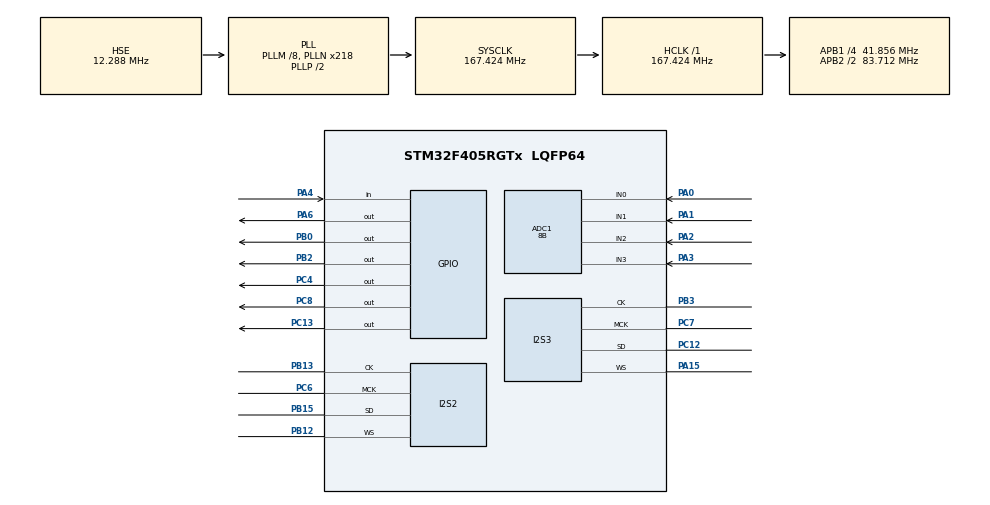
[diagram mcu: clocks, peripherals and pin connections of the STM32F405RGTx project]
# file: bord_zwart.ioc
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ADC1.Channel-0\#ChannelRegularConversion=ADC_CHANNEL_0
ADC1.Channel-1\#ChannelRegularConversion=ADC_CHANNEL_1
ADC1.Channel-2\#ChannelRegularConversion=ADC_CHANNEL_2
ADC1.Channel-3\#ChannelRegularConversion=ADC_CHANNEL_3
ADC1.ContinuousConvMode=ENABLE
ADC1.DMAContinuousRequests=ENABLE
ADC1.NbrOfConversion=4
ADC1.NbrOfConversionFlag=1
ADC1.Rank-0\#ChannelRegularConversion=1
ADC1.Rank-1\#ChannelRegularConversion=2
ADC1.Rank-2\#ChannelRegularConversion=3
ADC1.Rank-3\#ChannelRegularConversion=4
ADC1.Resolution=ADC_RESOLUTION_8B
ADC1.SamplingTime-0\#ChannelRegularConversion=ADC_SAMPLETIME_56CYCLES
ADC1.SamplingTime-1\#ChannelRegularConversion=ADC_SAMPLETIME_56CYCLES
ADC1.SamplingTime-2\#ChannelRegularConversion=ADC_SAMPLETIME_56CYCLES
ADC1.SamplingTime-3\#ChannelRegularConversion=ADC_SAMPLETIME_56CYCLES
ADC1.ScanConvMode=ENABLE
ADC1.master=1
Dma.ADC1.2.Direction=DMA_PERIPH_TO_MEMORY
Dma.ADC1.2.FIFOMode=DMA_FIFOMODE_DISABLE
Dma.ADC1.2.Instance=DMA2_Stream0
Dma.ADC1.2.MemDataAlignment=DMA_MDATAALIGN_WORD
Dma.ADC1.2.MemInc=DMA_MINC_ENABLE
Dma.ADC1.2.Mode=DMA_CIRCULAR
Dma.ADC1.2.PeriphDataAlignment=DMA_PDATAALIGN_WORD
Dma.ADC1.2.PeriphInc=DMA_PINC_DISABLE
Dma.ADC1.2.Priority=DMA_PRIORITY_LOW
Dma.Request0=SPI2_RX
Dma.Request1=SPI3_TX
Dma.Request2=ADC1
Dma.SPI2_RX.0.Direction=DMA_PERIPH_TO_MEMORY
Dma.SPI2_RX.0.FIFOMode=DMA_FIFOMODE_DISABLE
Dma.SPI2_RX.0.Instance=DMA1_Stream3
Dma.SPI2_RX.0.MemDataAlignment=DMA_MDATAALIGN_HALFWORD
Dma.SPI2_RX.0.MemInc=DMA_MINC_ENABLE
Dma.SPI2_RX.0.Mode=DMA_CIRCULAR
Dma.SPI2_RX.0.PeriphDataAlignment=DMA_PDATAALIGN_HALFWORD
Dma.SPI2_RX.0.PeriphInc=DMA_PINC_DISABLE
Dma.SPI2_RX.0.Priority=DMA_PRIORITY_VERY_HIGH
Dma.SPI3_TX.1.Direction=DMA_MEMORY_TO_PERIPH
Dma.SPI3_TX.1.FIFOMode=DMA_FIFOMODE_DISABLE
Dma.SPI3_TX.1.Instance=DMA1_Stream5
Dma.SPI3_TX.1.MemDataAlignment=DMA_MDATAALIGN_HALFWORD
Dma.SPI3_TX.1.MemInc=DMA_MINC_ENABLE
Dma.SPI3_TX.1.Mode=DMA_CIRCULAR
Dma.SPI3_TX.1.PeriphDataAlignment=DMA_PDATAALIGN_HALFWORD
Dma.SPI3_TX.1.PeriphInc=DMA_PINC_DISABLE
Dma.SPI3_TX.1.Priority=DMA_PRIORITY_VERY_HIGH
I2S2.AudioFreq=I2S_AUDIOFREQ_48K
I2S2.ErrorAudioFreq=0.0 %
I2S2.FullDuplexMode=I2S_FULLDUPLEXMODE_DISABLE
I2S2.Instance=SPI$Index
I2S2.Mode=I2S_MODE_MASTER_RX
I2S2.RealAudioFreq=48.0 KHz
I2S2.VirtualMode=I2S_MODE_MASTER
I2S3.AudioFreq=I2S_AUDIOFREQ_48K
I2S3.ErrorAudioFreq=0.0 %
I2S3.FullDuplexMode=I2S_FULLDUPLEXMODE_DISABLE
I2S3.Instance=SPI$Index
I2S3.RealAudioFreq=48.0 KHz
I2S3.VirtualMode=I2S_MODE_MASTER
Mcu.Family=STM32F4
Mcu.Name=STM32F405RGTx
Mcu.Package=LQFP64
NVIC.ADC_IRQn=true\:0\:0\:false\:false\:true\:true\:true
NVIC.DMA1_Stream3_IRQn=true\:0\:0\:false\:false\:true\:false\:true
NVIC.DMA1_Stream5_IRQn=true\:0\:0\:false\:false\:true\:false\:true
NVIC.DMA2_Stream0_IRQn=true\:0\:0\:false\:false\:true\:false\:true
NVIC.PriorityGroup=NVIC_PRIORITYGROUP_4
PA0-WKUP.Signal=ADCx_IN0
PA1.Signal=ADCx_IN1
PA13.Mode=Serial_Wire
PA13.Signal=SYS_JTMS-SWDIO
PA14.Mode=Serial_Wire
PA14.Signal=SYS_JTCK-SWCLK
PA15.Mode=Half_Duplex_Master
PA15.Signal=I2S3_WS
PA2.Signal=ADCx_IN2
PA3.Signal=ADCx_IN3
PA4.Signal=GPIO_Input
PA6.Signal=GPIO_Output
PB0.Signal=GPIO_Output
PB12.Mode=Half_Duplex_Master
PB12.Signal=I2S2_WS
PB13.Mode=Half_Duplex_Master
PB13.Signal=I2S2_CK
PB15.Mode=Half_Duplex_Master
PB15.Signal=I2S2_SD
PB2.Signal=GPIO_Output
PB3.Mode=Half_Duplex_Master
PB3.Signal=I2S3_CK
PC12.Mode=Half_Duplex_Master
PC12.Signal=I2S3_SD
PC13-ANTI_TAMP.Signal=GPIO_Output
PC4.Signal=GPIO_Output
PC6.Mode=Master_Clock_Activated
PC6.Signal=I2S2_MCK
PC7.Mode=Master_Clock_Activated
PC7.Signal=I2S3_MCK
PC8.Signal=GPIO_Output
PH0-OSC_IN.Mode=HSE-External-Oscillator
PH0-OSC_IN.Signal=RCC_OSC_IN
PH1-OSC_OUT.Mode=HSE-External-Oscillator
PH1-OSC_OUT.Signal=RCC_OSC_OUT
ProjectManager.HeapSize=0x200
ProjectManager.StackSize=0x400
ProjectManager.TargetToolchain=STM32CubeIDE
RCC.48MHZClocksFreq_Value=83712000
RCC.AHBFreq_Value=167424000
RCC.APB1CLKDivider=RCC_HCLK_DIV4
RCC.APB1Freq_Value=41856000
RCC.APB1TimFreq_Value=83712000
RCC.APB2CLKDivider=RCC_HCLK_DIV2
RCC.APB2Freq_Value=83712000
RCC.APB2TimFreq_Value=167424000
RCC.CortexFreq_Value=167424000
RCC.HCLKFreq_Value=167424000
RCC.HSE_VALUE=12288000
RCC.HSI_VALUE=16000000
RCC.LSE_VALUE=32768
RCC.PLLI2SN=128
RCC.PLLM=8
RCC.PLLN=218
RCC.PLLSourceVirtual=RCC_PLLSOURCE_HSE
RCC.SYSCLKFreq_VALUE=167424000
RCC.SYSCLKSource=RCC_SYSCLKSOURCE_PLLCLK
RCC.VCOOutputFreq_Value=334848000
SH.ADCx_IN0.0=ADC1_IN0,IN0
SH.ADCx_IN1.0=ADC1_IN1,IN1
SH.ADCx_IN2.0=ADC1_IN2,IN2
SH.ADCx_IN3.0=ADC1_IN3,IN3
board=custom

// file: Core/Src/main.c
/* USER CODE BEGIN Header */
/**
  ******************************************************************************
  * @file           : main.c
  * @brief          : Main program body
  ******************************************************************************
  * @attention
  *
  * <h2><center>&copy; Copyright (c) 2021 STMicroelectronics.
  * All rights reserved.</center></h2>
  *
  * This software component is licensed by ST under BSD 3-Clause license,
  * the "License"; You may not use this file except in compliance with the
  * License. You may obtain a copy of the License at:
  *                        opensource.org/licenses/BSD-3-Clause
  *
  ******************************************************************************
  */
/* USER CODE END Header */
#include "main.h"

/* USER CODE BEGIN Includes */
#include "arm_math.h"
/* USER CODE END Includes */

/* USER CODE BEGIN PD */
#define n 8
#define delay_buffer_length 48*1200

/* USER CODE END PD */

ADC_HandleTypeDef hadc1;
DMA_HandleTypeDef hdma_adc1;

I2S_HandleTypeDef hi2s2;
I2S_HandleTypeDef hi2s3;
DMA_HandleTypeDef hdma_spi2_rx;
DMA_HandleTypeDef hdma_spi3_tx;

/* USER CODE BEGIN PV */
float deel_delay = 2;
int i_delay = 0;
int i2 = 0;
uint16_t audio_in[4*n];
uint16_t audio_out[4*n];
uint32_t adc_data[4];
uint8_t pot1 = 0;
uint8_t pot2 = 0;
uint8_t pot3 = 0;
uint8_t pot4 = 0;
q15_t audio_r_in[n];
q15_t audio_l_in[n];
q15_t audio_r_out[n];
q15_t audio_l_out[n];
q15_t M_out[n];
q15_t M_delay[n];
q15_t delay_audio[delay_buffer_length];
q15_t delay_add[n];
q15_t delay_add2[n];
/* USER CODE END PV */

void SystemClock_Config(void);
static void MX_GPIO_Init(void);
static void MX_DMA_Init(void);
static void MX_ADC1_Init(void);
static void MX_I2S2_Init(void);
static void MX_I2S3_Init(void);

int main(void)
{

  /* MCU Configuration--------------------------------------------------------*/

  /* Reset of all peripherals, Initializes the Flash interface and the Systick. */
  HAL_Init();

  /* Configure the system clock */
  SystemClock_Config();

  /* Initialize all configured peripherals */
  MX_GPIO_Init();
  MX_DMA_Init();
  MX_ADC1_Init();
  MX_I2S2_Init();
  MX_I2S3_Init();
  /* USER CODE BEGIN 2 */

  HAL_GPIO_WritePin(GPIOC, GPIO_PIN_8, GPIO_PIN_SET);
  HAL_GPIO_TogglePin(GPIOA, GPIO_PIN_6);
  HAL_ADC_Start(&hadc1);
  HAL_ADC_Start_DMA(&hadc1, adc_data, 4);

  HAL_I2S_Receive_DMA(&hi2s2, audio_in, 4*n);
  HAL_I2S_Transmit_DMA(&hi2s3, audio_out, 4*n);

  /* USER CODE END 2 */

  /* Infinite loop */
  while (1)
  {

    /* USER CODE BEGIN 3 */
	    HAL_GPIO_TogglePin(GPIOB, GPIO_PIN_0);
		HAL_GPIO_TogglePin(GPIOA, GPIO_PIN_6);
		HAL_Delay((1.05 + (pot1/64))*100);
		HAL_GPIO_TogglePin(GPIOA, GPIO_PIN_6);
		HAL_GPIO_TogglePin(GPIOB, GPIO_PIN_0);
		HAL_Delay((1.05 + (pot1/64))*100);
  }
  /* USER CODE END 3 */
}

void SystemClock_Config(void)
{
  RCC_OscInitTypeDef RCC_OscInitStruct = {0};
  RCC_ClkInitTypeDef RCC_ClkInitStruct = {0};
  RCC_PeriphCLKInitTypeDef PeriphClkInitStruct = {0};

  /** Configure the main internal regulator output voltage
  */
  __HAL_RCC_PWR_CLK_ENABLE();
  __HAL_PWR_VOLTAGESCALING_CONFIG(PWR_REGULATOR_VOLTAGE_SCALE1);
  /** Initializes the RCC Oscillators according to the specified parameters
  * in the RCC_OscInitTypeDef structure.
  */
  RCC_OscInitStruct.OscillatorType = RCC_OSCILLATORTYPE_HSE;
  RCC_OscInitStruct.HSEState = RCC_HSE_ON;
  RCC_OscInitStruct.PLL.PLLState = RCC_PLL_ON;
  RCC_OscInitStruct.PLL.PLLSource = RCC_PLLSOURCE_HSE;
  RCC_OscInitStruct.PLL.PLLM = 8;
  RCC_OscInitStruct.PLL.PLLN = 218;
  RCC_OscInitStruct.PLL.PLLP = RCC_PLLP_DIV2;
  RCC_OscInitStruct.PLL.PLLQ = 4;
  if (HAL_RCC_OscConfig(&RCC_OscInitStruct) != HAL_OK)
  {
    Error_Handler();
  }
  /** Initializes the CPU, AHB and APB buses clocks
  */
  RCC_ClkInitStruct.ClockType = RCC_CLOCKTYPE_HCLK|RCC_CLOCKTYPE_SYSCLK
                              |RCC_CLOCKTYPE_PCLK1|RCC_CLOCKTYPE_PCLK2;
  RCC_ClkInitStruct.SYSCLKSource = RCC_SYSCLKSOURCE_PLLCLK;
  RCC_ClkInitStruct.AHBCLKDivider = RCC_SYSCLK_DIV1;
  RCC_ClkInitStruct.APB1CLKDivider = RCC_HCLK_DIV4;
  RCC_ClkInitStruct.APB2CLKDivider = RCC_HCLK_DIV2;

  if (HAL_RCC_ClockConfig(&RCC_ClkInitStruct, FLASH_LATENCY_5) != HAL_OK)
  {
    Error_Handler();
  }
  PeriphClkInitStruct.PeriphClockSelection = RCC_PERIPHCLK_I2S;
  PeriphClkInitStruct.PLLI2S.PLLI2SN = 128;
  PeriphClkInitStruct.PLLI2S.PLLI2SR = 2;
  if (HAL_RCCEx_PeriphCLKConfig(&PeriphClkInitStruct) != HAL_OK)
  {
    Error_Handler();
  }
}

static void MX_ADC1_Init(void)
{

  ADC_ChannelConfTypeDef sConfig = {0};

  /** Configure the global features of the ADC (Clock, Resolution, Data Alignment and number of conversion)
  */
  hadc1.Instance = ADC1;
  hadc1.Init.ClockPrescaler = ADC_CLOCK_SYNC_PCLK_DIV4;
  hadc1.Init.Resolution = ADC_RESOLUTION_8B;
  hadc1.Init.ScanConvMode = ENABLE;
  hadc1.Init.ContinuousConvMode = ENABLE;
  hadc1.Init.DiscontinuousConvMode = DISABLE;
  hadc1.Init.ExternalTrigConvEdge = ADC_EXTERNALTRIGCONVEDGE_NONE;
  hadc1.Init.ExternalTrigConv = ADC_SOFTWARE_START;
  hadc1.Init.DataAlign = ADC_DATAALIGN_RIGHT;
  hadc1.Init.NbrOfConversion = 4;
  hadc1.Init.DMAContinuousRequests = ENABLE;
  hadc1.Init.EOCSelection = ADC_EOC_SINGLE_CONV;
  if (HAL_ADC_Init(&hadc1) != HAL_OK)
  {
    Error_Handler();
  }
  /** Configure for the selected ADC regular channel its corresponding rank in the sequencer and its sample time.
  */
  sConfig.Channel = ADC_CHANNEL_0;
  sConfig.Rank = 1;
  sConfig.SamplingTime = ADC_SAMPLETIME_28CYCLES;
  if (HAL_ADC_ConfigChannel(&hadc1, &sConfig) != HAL_OK)
  {
    Error_Handler();
  }
  /** Configure for the selected ADC regular channel its corresponding rank in the sequencer and its sample time.
  */
  sConfig.Channel = ADC_CHANNEL_1;
  sConfig.Rank = 2;
  if (HAL_ADC_ConfigChannel(&hadc1, &sConfig) != HAL_OK)
  {
    Error_Handler();
  }
  /** Configure for the selected ADC regular channel its corresponding rank in the sequencer and its sample time.
  */
  sConfig.Channel = ADC_CHANNEL_2;
  sConfig.Rank = 3;
  if (HAL_ADC_ConfigChannel(&hadc1, &sConfig) != HAL_OK)
  {
    Error_Handler();
  }
  /** Configure for the selected ADC regular channel its corresponding rank in the sequencer and its sample time.
  */
  sConfig.Channel = ADC_CHANNEL_3;
  sConfig.Rank = 4;
  if (HAL_ADC_ConfigChannel(&hadc1, &sConfig) != HAL_OK)
  {
    Error_Handler();
  }

}

static void MX_I2S2_Init(void)
{

  hi2s2.Instance = SPI2;
  hi2s2.Init.Mode = I2S_MODE_MASTER_RX;
  hi2s2.Init.Standard = I2S_STANDARD_PHILIPS;
  hi2s2.Init.DataFormat = I2S_DATAFORMAT_16B;
  hi2s2.Init.MCLKOutput = I2S_MCLKOUTPUT_ENABLE;
  hi2s2.Init.AudioFreq = I2S_AUDIOFREQ_48K;
  hi2s2.Init.CPOL = I2S_CPOL_LOW;
  hi2s2.Init.ClockSource = I2S_CLOCK_PLL;
  hi2s2.Init.FullDuplexMode = I2S_FULLDUPLEXMODE_DISABLE;
  if (HAL_I2S_Init(&hi2s2) != HAL_OK)
  {
    Error_Handler();
  }

}

static void MX_I2S3_Init(void)
{

  hi2s3.Instance = SPI3;
  hi2s3.Init.Mode = I2S_MODE_MASTER_TX;
  hi2s3.Init.Standard = I2S_STANDARD_PHILIPS;
  hi2s3.Init.DataFormat = I2S_DATAFORMAT_16B;
  hi2s3.Init.MCLKOutput = I2S_MCLKOUTPUT_ENABLE;
  hi2s3.Init.AudioFreq = I2S_AUDIOFREQ_48K;
  hi2s3.Init.CPOL = I2S_CPOL_LOW;
  hi2s3.Init.ClockSource = I2S_CLOCK_PLL;
  hi2s3.Init.FullDuplexMode = I2S_FULLDUPLEXMODE_DISABLE;
  if (HAL_I2S_Init(&hi2s3) != HAL_OK)
  {
    Error_Handler();
  }

}

static void MX_DMA_Init(void)
{

  /* DMA controller clock enable */
  __HAL_RCC_DMA1_CLK_ENABLE();
  __HAL_RCC_DMA2_CLK_ENABLE();

  /* DMA interrupt init */
  /* DMA1_Stream3_IRQn interrupt configuration */
  HAL_NVIC_SetPriority(DMA1_Stream3_IRQn, 0, 0);
  HAL_NVIC_EnableIRQ(DMA1_Stream3_IRQn);
  /* DMA1_Stream5_IRQn interrupt configuration */
  HAL_NVIC_SetPriority(DMA1_Stream5_IRQn, 0, 0);
  HAL_NVIC_EnableIRQ(DMA1_Stream5_IRQn);
  /* DMA2_Stream0_IRQn interrupt configuration */
  HAL_NVIC_SetPriority(DMA2_Stream0_IRQn, 0, 0);
  HAL_NVIC_EnableIRQ(DMA2_Stream0_IRQn);

}

static void MX_GPIO_Init(void)
{
  GPIO_InitTypeDef GPIO_InitStruct = {0};

  /* GPIO Ports Clock Enable */
  __HAL_RCC_GPIOC_CLK_ENABLE();
  __HAL_RCC_GPIOH_CLK_ENABLE();
  __HAL_RCC_GPIOA_CLK_ENABLE();
  __HAL_RCC_GPIOB_CLK_ENABLE();

  /*Configure GPIO pin Output Level */
  HAL_GPIO_WritePin(GPIOC, GPIO_PIN_13|GPIO_PIN_4|GPIO_PIN_8, GPIO_PIN_RESET);

  /*Configure GPIO pin Output Level */
  HAL_GPIO_WritePin(GPIOA, GPIO_PIN_6, GPIO_PIN_RESET);

  /*Configure GPIO pin Output Level */
  HAL_GPIO_WritePin(GPIOB, GPIO_PIN_0|GPIO_PIN_2, GPIO_PIN_RESET);

  /*Configure GPIO pins : PC13 PC4 PC8 */
  GPIO_InitStruct.Pin = GPIO_PIN_13|GPIO_PIN_4|GPIO_PIN_8;
  GPIO_InitStruct.Mode = GPIO_MODE_OUTPUT_PP;
  GPIO_InitStruct.Pull = GPIO_NOPULL;
  GPIO_InitStruct.Speed = GPIO_SPEED_FREQ_LOW;
  HAL_GPIO_Init(GPIOC, &GPIO_InitStruct);

  /*Configure GPIO pin : PA4 */
  GPIO_InitStruct.Pin = GPIO_PIN_4;
  GPIO_InitStruct.Mode = GPIO_MODE_INPUT;
  GPIO_InitStruct.Pull = GPIO_NOPULL;
  HAL_GPIO_Init(GPIOA, &GPIO_InitStruct);

  /*Configure GPIO pin : PA6 */
  GPIO_InitStruct.Pin = GPIO_PIN_6;
  GPIO_InitStruct.Mode = GPIO_MODE_OUTPUT_PP;
  GPIO_InitStruct.Pull = GPIO_NOPULL;
  GPIO_InitStruct.Speed = GPIO_SPEED_FREQ_LOW;
  HAL_GPIO_Init(GPIOA, &GPIO_InitStruct);

  /*Configure GPIO pins : PB0 PB2 */
  GPIO_InitStruct.Pin = GPIO_PIN_0|GPIO_PIN_2;
  GPIO_InitStruct.Mode = GPIO_MODE_OUTPUT_PP;
  GPIO_InitStruct.Pull = GPIO_NOPULL;
  GPIO_InitStruct.Speed = GPIO_SPEED_FREQ_LOW;
  HAL_GPIO_Init(GPIOB, &GPIO_InitStruct);

}

/* USER CODE BEGIN 4 */
void do_processing(q15_t* audio_l_in, q15_t* audio_r_in, q15_t* audio_l_out, q15_t* audio_r_out)
{
	float delay_buffer_add_time = pot1/64;
	int delay_buffer = delay_buffer_length / (1.05 + delay_buffer_add_time);
	arm_add_q15(audio_l_in, audio_r_in, M_out, n);
	arm_scale_q15(delay_add, pot4/2*128-1, 1, delay_add, n);
	arm_add_q15(M_out, delay_add, M_delay, n);
	for (int i = 0; i < n; ++i) {
		delay_audio[i_delay] = M_delay[i];
		if(i_delay + delay_buffer > delay_buffer_length - 1){
		delay_add[i] = delay_audio[i2];
		i2 = i2 + 1;
		}
		else{
		delay_add[i] = delay_audio[i_delay + delay_buffer - 1];
		i2 = 0;

		}

		if (i_delay == delay_buffer_length) {
			i_delay = 0;
		}
		else {
			i_delay = i_delay + 1;
		}
	}
	arm_scale_q15(delay_add, pot2/2*128-1, 1, delay_add2, n);
	arm_add_q15(M_out, delay_add2, M_out, n);
	arm_copy_q15(M_out, audio_l_out, n);
	arm_copy_q15(M_out, audio_r_out, n);
}
void HAL_I2S_RxHalfCpltCallback(I2S_HandleTypeDef *hi2s)
{
 /* Prevent unused argument(s) compilation warning */
	for (int i = 0; i < n; ++i) {
		audio_l_in[i] = audio_in[i*2];
		audio_r_in[i] = audio_in[i*2+1];
	}
	do_processing(audio_l_in, audio_r_in, audio_l_out, audio_r_out);
	for (int i = 0; i < n; ++i) {
		audio_out[2*i]   = audio_l_out[i];
		audio_out[2*i+1] = audio_r_out[i];
	}
	//for (int i = 0; i < n; ++i) {
	//	audio_out[i] = audio_in[i];
	//}
 /* NOTE : This function Should not be modified, when the callback is needed,
           the HAL_I2S_RxHalfCpltCallback could be implemented in the user file
  */
}
void HAL_I2S_RxCpltCallback(I2S_HandleTypeDef *hi2s)
{
  /* Prevent unused argument(s) compilation warning */
	//for (int i = n; i < 2*n; ++i) {
	//	audio_out[i] = audio_in[i];
	//}

	for (int i = 0; i < n; ++i) {
		audio_l_in[i] = audio_in[2*i+2*n];
		audio_r_in[i] = audio_in[2*i+2*n+1];
	}
	//processing audio
	//einde processing
	do_processing(audio_l_in, audio_r_in, audio_l_out, audio_r_out);
	//van array naar buffer
	for (int i = 0; i < n; ++i) {
		audio_out[2*i+2*n]   = audio_l_out[i];
		audio_out[2*i+2*n+1] = audio_r_out[i];
	}
  /* NOTE : This function Should not be modified, when the callback is needed,
            the HAL_I2S_RxCpltCallback could be implemented in the user file
   */
}
void HAL_ADC_ConvCpltCallback(ADC_HandleTypeDef* hadc){
	pot1 = adc_data[0];
	pot2 = adc_data[1];
	pot3 = adc_data[2];
	pot4 = adc_data[3];

}
/* USER CODE END 4 */

void Error_Handler(void)
{
  __disable_irq();
  while (1)
  {
  }
}

/************************ (C) COPYRIGHT STMicroelectronics *****END OF FILE****/
